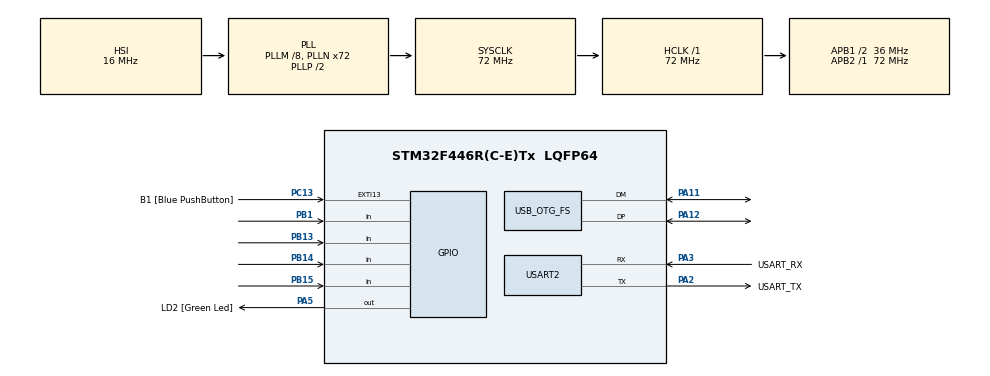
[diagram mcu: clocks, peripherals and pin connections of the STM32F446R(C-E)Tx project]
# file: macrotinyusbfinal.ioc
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Mcu.Family=STM32F4
Mcu.Name=STM32F446R(C-E)Tx
Mcu.Package=LQFP64
NVIC.OTG_FS_IRQn=true\:0\:0\:false\:false\:true\:true\:true\:true
NVIC.PriorityGroup=NVIC_PRIORITYGROUP_0
PA11.Mode=Device_Only
PA11.Signal=USB_OTG_FS_DM
PA12.Mode=Device_Only
PA12.Signal=USB_OTG_FS_DP
PA13.GPIO_Label=TMS
PA13.Mode=Serial_Wire
PA13.Signal=SYS_JTMS-SWDIO
PA14.GPIO_Label=TCK
PA14.Mode=Serial_Wire
PA14.Signal=SYS_JTCK-SWCLK
PA2.GPIO_Label=USART_TX
PA2.Mode=Asynchronous
PA2.Signal=USART2_TX
PA3.GPIO_Label=USART_RX
PA3.Mode=Asynchronous
PA3.Signal=USART2_RX
PA5.GPIO_Label=LD2 [Green Led]
PA5.Signal=GPIO_Output
PB1.GPIO_PuPd=GPIO_PULLUP
PB1.Signal=GPIO_Input
PB13.GPIO_PuPd=GPIO_PULLUP
PB13.Signal=GPIO_Input
PB14.GPIO_PuPd=GPIO_PULLUP
PB14.Signal=GPIO_Input
PB15.GPIO_PuPd=GPIO_PULLUP
PB15.Signal=GPIO_Input
PB3.GPIO_Label=SWO
PB3.Signal=SYS_JTDO-SWO
PC13.GPIO_Label=B1 [Blue PushButton]
PC13.GPIO_ModeDefaultEXTI=GPIO_MODE_IT_FALLING
PC13.Signal=GPXTI13
PC14-OSC32_IN.Signal=RCC_OSC32_IN
PC15-OSC32_OUT.Signal=RCC_OSC32_OUT
PH0-OSC_IN.Signal=RCC_OSC_IN
PH1-OSC_OUT.Signal=RCC_OSC_OUT
ProjectManager.HeapSize=0x200
ProjectManager.StackSize=0x400
ProjectManager.TargetToolchain=STM32CubeIDE
RCC.48MHZClocksFreq_Value=84000000
RCC.AHBFreq_Value=72000000
RCC.APB1CLKDivider=RCC_HCLK_DIV2
RCC.APB1Freq_Value=36000000
RCC.APB1TimFreq_Value=72000000
RCC.APB2Freq_Value=72000000
RCC.APB2TimFreq_Value=72000000
RCC.CortexFreq_Value=72000000
RCC.FLatency-AdvancedSettings=FLASH_LATENCY_2
RCC.HCLKFreq_Value=72000000
RCC.HSE_VALUE=8000000
RCC.HSI_VALUE=16000000
RCC.PLLM=8
RCC.PLLN=72
RCC.PLLQ=3
RCC.PLLSource=RCC_PLLSOURCE_HSI
RCC.PLLSourceVirtual=RCC_PLLSOURCE_HSI
RCC.SYSCLKFreq_VALUE=72000000
RCC.SYSCLKSource=RCC_SYSCLKSOURCE_PLLCLK
RCC.USBFreq_Value=48000000
RCC.VCOOutputFreq_Value=144000000
USART2.VirtualMode=VM_ASYNC
USB_OTG_FS.VirtualMode=Device_Only
board=NUCLEO-F446RE

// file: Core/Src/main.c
/* USER CODE BEGIN Header */
/**
  ******************************************************************************
  * @file           : main.c
  * @brief          : Main program body
  ******************************************************************************
  * @attention
  *
  * Copyright (c) 2026 STMicroelectronics.
  * All rights reserved.
  *
  * This software is licensed under terms that can be found in the LICENSE file
  * in the root directory of this software component.
  * If no LICENSE file comes with this software, it is provided AS-IS.
  *
  ******************************************************************************
  */

/* USER CODE END Header */
#include "main.h"
#include "usart.h"
#include "usb_otg.h"
#include "gpio.h"

/* USER CODE BEGIN Includes */
#include "tusb.h"
#include <string.h>
#include "input_controller.h"
#include "cdc_handler.h"
#include "hid_handler.h"
#include "macro_handler.h"
#include "storage.h"
#include "cmd_parser.h"
#include <stdio.h>
/* USER CODE END Includes */

void SystemClock_Config(void);

/* USER CODE BEGIN 0 */
void tud_mount_cb(void){

}
/* USER CODE END 0 */

int main(void)
{

  /* MCU Configuration--------------------------------------------------------*/

  /* Reset of all peripherals, Initializes the Flash interface and the Systick. */
  HAL_Init();

  /* Configure the system clock */
  SystemClock_Config();

  /* Initialize all configured peripherals */
  MX_GPIO_Init();
  MX_USART2_UART_Init();
  MX_USB_OTG_FS_PCD_Init();
  /* USER CODE BEGIN 2 */
  tusb_rhport_init_t dev_init =
  {
      .role = TUSB_ROLE_DEVICE,
      .speed = TUSB_SPEED_FULL
  };

  tusb_init(0, &dev_init);

  Buttons_Init();

  Storage_LoadConfig();
  /* USER CODE END 2 */

  /* Infinite loop */
  /* USER CODE BEGIN WHILE */
  while (1)
  {
	      tud_task();

	      Buttons_Update();

	      CDC_Update();

	  if(CDC_Available())
	      {
	          Command_Parser(CDC_Read());
	      }

	      if(Button_Pressed(0))
	      {
	          HID_SendBind(&g_config.binds[0]);
	      }

	      if(Button_Released(0))
	      {
	          HID_Release(&g_config.binds[0]);
	      }
	      if(Button_Pressed(1))
		  {
			  HID_SendBind(&g_config.binds[1]);
		  }

		  if(Button_Released(1))
		  {
			  HID_Release(&g_config.binds[1]);
		  }
		  if(Button_Pressed(2))
		  {
			  HID_SendBind(&g_config.binds[2]);
		  }

		  if(Button_Released(2))
		  {
			  HID_Release(&g_config.binds[2]);
		  }
		  if(Button_Pressed(3))
		  {
			  HID_SendBind(&g_config.binds[3]);
		  }

		  if(Button_Released(3))
		  {
			  HID_Release(&g_config.binds[3]);
		  }

    /* USER CODE END WHILE */

  }
}

void SystemClock_Config(void)
{
  RCC_OscInitTypeDef RCC_OscInitStruct = {0};
  RCC_ClkInitTypeDef RCC_ClkInitStruct = {0};

  /** Configure the main internal regulator output voltage
  */
  __HAL_RCC_PWR_CLK_ENABLE();
  __HAL_PWR_VOLTAGESCALING_CONFIG(PWR_REGULATOR_VOLTAGE_SCALE3);

  /** Initializes the RCC Oscillators according to the specified parameters
  * in the RCC_OscInitTypeDef structure.
  */
  RCC_OscInitStruct.OscillatorType = RCC_OSCILLATORTYPE_HSI;
  RCC_OscInitStruct.HSIState = RCC_HSI_ON;
  RCC_OscInitStruct.HSICalibrationValue = RCC_HSICALIBRATION_DEFAULT;
  RCC_OscInitStruct.PLL.PLLState = RCC_PLL_ON;
  RCC_OscInitStruct.PLL.PLLSource = RCC_PLLSOURCE_HSI;
  RCC_OscInitStruct.PLL.PLLM = 8;
  RCC_OscInitStruct.PLL.PLLN = 72;
  RCC_OscInitStruct.PLL.PLLP = RCC_PLLP_DIV2;
  RCC_OscInitStruct.PLL.PLLQ = 3;
  RCC_OscInitStruct.PLL.PLLR = 2;
  if (HAL_RCC_OscConfig(&RCC_OscInitStruct) != HAL_OK)
  {
    Error_Handler();
  }

  /** Initializes the CPU, AHB and APB buses clocks
  */
  RCC_ClkInitStruct.ClockType = RCC_CLOCKTYPE_HCLK|RCC_CLOCKTYPE_SYSCLK
                              |RCC_CLOCKTYPE_PCLK1|RCC_CLOCKTYPE_PCLK2;
  RCC_ClkInitStruct.SYSCLKSource = RCC_SYSCLKSOURCE_PLLCLK;
  RCC_ClkInitStruct.AHBCLKDivider = RCC_SYSCLK_DIV1;
  RCC_ClkInitStruct.APB1CLKDivider = RCC_HCLK_DIV2;
  RCC_ClkInitStruct.APB2CLKDivider = RCC_HCLK_DIV1;

  if (HAL_RCC_ClockConfig(&RCC_ClkInitStruct, FLASH_LATENCY_2) != HAL_OK)
  {
    Error_Handler();
  }
}

void Error_Handler(void)
{
  __disable_irq();
  while (1)
  {
  }
}
